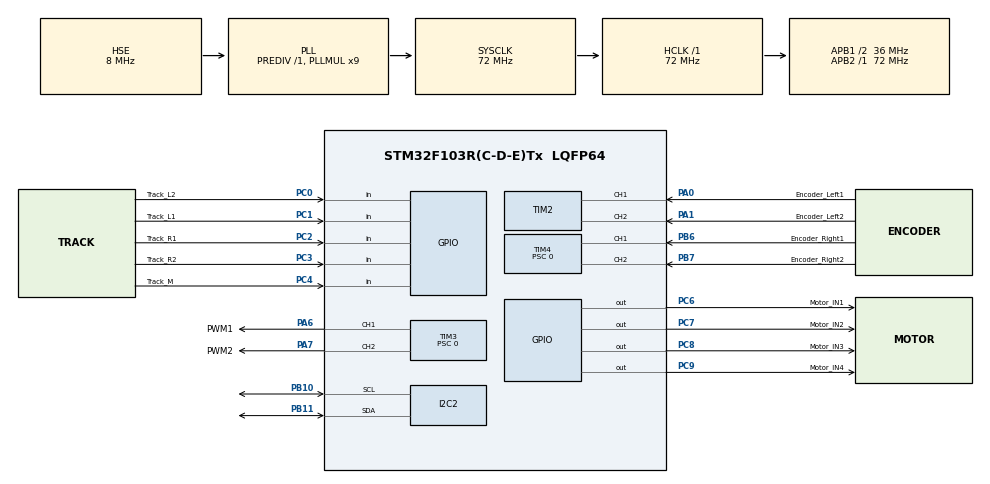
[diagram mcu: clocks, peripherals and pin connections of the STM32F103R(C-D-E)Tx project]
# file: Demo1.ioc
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Mcu.Family=STM32F1
Mcu.Name=STM32F103R(C-D-E)Tx
Mcu.Package=LQFP64
NVIC.PriorityGroup=NVIC_PRIORITYGROUP_4
NVIC.TIM2_IRQn=true\:0\:0\:false\:false\:true\:true\:true\:true
NVIC.TIM4_IRQn=true\:0\:0\:true\:false\:true\:true\:true\:true
NVIC.TIM5_IRQn=true\:1\:0\:true\:false\:true\:true\:true\:true
PA0-WKUP.GPIO_Label=Encoder_Left1
PA0-WKUP.Signal=S_TIM2_CH1_ETR
PA1.GPIO_Label=Encoder_Left2
PA1.Signal=S_TIM2_CH2
PA13.Mode=Serial_Wire
PA13.Signal=SYS_JTMS-SWDIO
PA14.Mode=Serial_Wire
PA14.Signal=SYS_JTCK-SWCLK
PA6.GPIO_Label=PWM1
PA6.Signal=S_TIM3_CH1
PA7.GPIO_Label=PWM2
PA7.Signal=S_TIM3_CH2
PB10.Mode=I2C
PB10.Signal=I2C2_SCL
PB11.Mode=I2C
PB11.Signal=I2C2_SDA
PB6.GPIO_Label=Encoder_Right1
PB6.Signal=S_TIM4_CH1
PB7.GPIO_Label=Encoder_Right2
PB7.Signal=S_TIM4_CH2
PC0.GPIO_Label=Track_L2
PC0.Signal=GPIO_Input
PC1.GPIO_Label=Track_L1
PC1.Signal=GPIO_Input
PC14-OSC32_IN.Mode=LSE-External-Oscillator
PC14-OSC32_IN.Signal=RCC_OSC32_IN
PC15-OSC32_OUT.Mode=LSE-External-Oscillator
PC15-OSC32_OUT.Signal=RCC_OSC32_OUT
PC2.GPIO_Label=Track_R1
PC2.Signal=GPIO_Input
PC3.GPIO_Label=Track_R2
PC3.Signal=GPIO_Input
PC4.GPIO_Label=Track_M
PC4.Signal=GPIO_Input
PC6.GPIO_Label=Motor_IN1
PC6.PinState=GPIO_PIN_RESET
PC6.Signal=GPIO_Output
PC7.GPIO_Label=Motor_IN2
PC7.PinState=GPIO_PIN_RESET
PC7.Signal=GPIO_Output
PC8.GPIO_Label=Motor_IN3
PC8.PinState=GPIO_PIN_RESET
PC8.Signal=GPIO_Output
PC9.GPIO_Label=Motor_IN4
PC9.PinState=GPIO_PIN_RESET
PC9.Signal=GPIO_Output
PD0-OSC_IN.Mode=HSE-External-Oscillator
PD0-OSC_IN.Signal=RCC_OSC_IN
PD1-OSC_OUT.Mode=HSE-External-Oscillator
PD1-OSC_OUT.Signal=RCC_OSC_OUT
ProjectManager.HeapSize=0x200
ProjectManager.StackSize=0x400
ProjectManager.TargetToolchain=STM32CubeIDE
RCC.AHBFreq_Value=72000000
RCC.APB1CLKDivider=RCC_HCLK_DIV2
RCC.APB1Freq_Value=36000000
RCC.APB1TimFreq_Value=72000000
RCC.APB2Freq_Value=72000000
RCC.APB2TimFreq_Value=72000000
RCC.HCLKFreq_Value=72000000
RCC.PLLMUL=RCC_PLL_MUL9
RCC.PLLSourceVirtual=RCC_PLLSOURCE_HSE
RCC.SYSCLKFreq_VALUE=72000000
RCC.SYSCLKSource=RCC_SYSCLKSOURCE_PLLCLK
RCC.USBFreq_Value=72000000
SH.S_TIM2_CH1_ETR.0=TIM2_CH1,Encoder_Interface
SH.S_TIM2_CH2.0=TIM2_CH2,Encoder_Interface
SH.S_TIM3_CH1.0=TIM3_CH1,PWM Generation1 CH1
SH.S_TIM3_CH2.0=TIM3_CH2,PWM Generation2 CH2
SH.S_TIM4_CH1.0=TIM4_CH1,Encoder_Interface
SH.S_TIM4_CH2.0=TIM4_CH2,Encoder_Interface
TIM2.EncoderMode=TIM_ENCODERMODE_TI12
TIM3.Channel-PWM\ Generation1\ CH1=TIM_CHANNEL_1
TIM3.Channel-PWM\ Generation2\ CH2=TIM_CHANNEL_2
TIM3.Period=7199
TIM3.Prescaler=0
TIM4.EncoderMode=TIM_ENCODERMODE_TI12
TIM4.Period=65535
TIM4.Prescaler=0
TIM5.AutoReloadPreload=TIM_AUTORELOAD_PRELOAD_ENABLE
TIM5.Period=999
TIM5.Prescaler=71
VP_TIM3_VS_ClockSourceINT.Mode=Internal
VP_TIM5_VS_ClockSourceINT.Mode=Internal
board=custom

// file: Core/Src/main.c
/* USER CODE BEGIN Header */
/**
  ******************************************************************************
  * @file           : main.c
  * @brief          : Main program body
  ******************************************************************************
  * @attention
  *
  * Copyright (c) 2024 STMicroelectronics.
  * All rights reserved.
  *
  * This software is licensed under terms that can be found in the LICENSE file
  * in the root directory of this software component.
  * If no LICENSE file comes with this software, it is provided AS-IS.
  *
  ******************************************************************************
  */
/* USER CODE END Header */
#include "main.h"
#include "i2c.h"
#include "tim.h"
#include "gpio.h"

/* USER CODE BEGIN Includes */
#include "Car.h"
#include "oled.h"
#include "Encoder.h"
#include "PID.h"
/* USER CODE END Includes */
/* USER CODE BEGIN PTD */
static float LeftMotor_PWM = 0;
static float RightMotor_PWM = 0;
/* USER CODE END PTD */

/* USER CODE BEGIN PM */
static int counter1=0,counter2=0,counter_all1=0,counter_all2=0;
static float speed1=0,distance1=0;
static float speed2=0,distance2=0;
static float speed11=0;
static float speed22=0;
static float distance = 60;
static int TimerCount=0;
 PID pid1;
PID pid2;
/* USER CODE END PM */

void SystemClock_Config(void);

int main(void)
{

  /* USER CODE BEGIN 1 */
    distance = 240;
  /* USER CODE END 1 */

  /* MCU Configuration--------------------------------------------------------*/

  /* Reset of all peripherals, Initializes the Flash interface and the Systick. */
  HAL_Init();

  /* Configure the system clock */
  SystemClock_Config();

  /* Initialize all configured peripherals */
  MX_GPIO_Init();
  MX_TIM3_Init();
  MX_I2C2_Init();
  MX_TIM2_Init();
  MX_TIM4_Init();
  MX_TIM5_Init();
  /* USER CODE BEGIN 2 */
  /*OLED_Init();
  OLED_Display_On();
  OLED_Clear();*/
  Counter_INIT();
  HAL_TIM_Base_Start(&htim3);
  HAL_TIM_PWM_Start(&htim3,TIM_CHANNEL_1);
  HAL_TIM_PWM_Start(&htim3,TIM_CHANNEL_2);
    PID_Init(&pid1,195,0,2,8000,7200);
    PID_Init(&pid2,183.5,0,2,8000,7200);
  /* USER CODE END 2 */
    Car_GoAhead(5000,5000);
  /* Infinite loop */
  /* USER CODE BEGIN WHILE */
  while (1)
  {

    HAL_Delay(100);
   // Car_GoAhead(LeftMotor_PWM*10,RightMotor_PWM*10);

    /* USER CODE END WHILE */

  }
}

void SystemClock_Config(void)
{
  RCC_OscInitTypeDef RCC_OscInitStruct = {0};
  RCC_ClkInitTypeDef RCC_ClkInitStruct = {0};

  /** Initializes the RCC Oscillators according to the specified parameters
  * in the RCC_OscInitTypeDef structure.
  */
  RCC_OscInitStruct.OscillatorType = RCC_OSCILLATORTYPE_HSE;
  RCC_OscInitStruct.HSEState = RCC_HSE_ON;
  RCC_OscInitStruct.HSEPredivValue = RCC_HSE_PREDIV_DIV1;
  RCC_OscInitStruct.HSIState = RCC_HSI_ON;
  RCC_OscInitStruct.PLL.PLLState = RCC_PLL_ON;
  RCC_OscInitStruct.PLL.PLLSource = RCC_PLLSOURCE_HSE;
  RCC_OscInitStruct.PLL.PLLMUL = RCC_PLL_MUL9;
  if (HAL_RCC_OscConfig(&RCC_OscInitStruct) != HAL_OK)
  {
    Error_Handler();
  }

  /** Initializes the CPU, AHB and APB buses clocks
  */
  RCC_ClkInitStruct.ClockType = RCC_CLOCKTYPE_HCLK|RCC_CLOCKTYPE_SYSCLK
                              |RCC_CLOCKTYPE_PCLK1|RCC_CLOCKTYPE_PCLK2;
  RCC_ClkInitStruct.SYSCLKSource = RCC_SYSCLKSOURCE_PLLCLK;
  RCC_ClkInitStruct.AHBCLKDivider = RCC_SYSCLK_DIV1;
  RCC_ClkInitStruct.APB1CLKDivider = RCC_HCLK_DIV2;
  RCC_ClkInitStruct.APB2CLKDivider = RCC_HCLK_DIV1;

  if (HAL_RCC_ClockConfig(&RCC_ClkInitStruct, FLASH_LATENCY_2) != HAL_OK)
  {
    Error_Handler();
  }
}

/* USER CODE BEGIN 4 */
void HAL_TIM_PeriodElapsedCallback(TIM_HandleTypeDef *htim)
{
  if(htim == &htim5)//htim1 500HZ  10ms
  {
    TimerCount++;
    if(TimerCount %10 == 0)//
    {
      counter_all1=counter_all_1( counter_all1);
      counter_all2=counter_all_2( counter_all2);
      counter1 = (short)Read_counter1();
      counter2 = (short)Read_counter2();
      speed1 = Calculate_counter(counter1);
      speed2 = Calculate_counter(counter2);
      distance1= distance_transform(counter_all1);
      distance2= distance_transform(counter_all2);

    }
    if(TimerCount == 20){
      PID_Calc(&pid1, distance,  distance1);
      PID_Calc(&pid2,  distance, distance2);
      __HAL_TIM_SetCompare(&htim3,TIM_CHANNEL_1,pid1.output);
      __HAL_TIM_SetCompare(&htim3,TIM_CHANNEL_2,pid2.output);
      TimerCount=0;

    }
  }
}
/* USER CODE END 4 */

void Error_Handler(void)
{
  __disable_irq();
         while (1)
  {
  }
}
